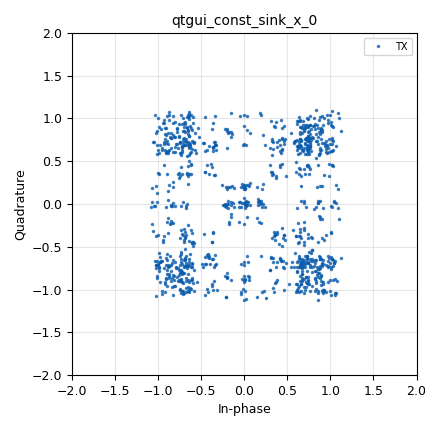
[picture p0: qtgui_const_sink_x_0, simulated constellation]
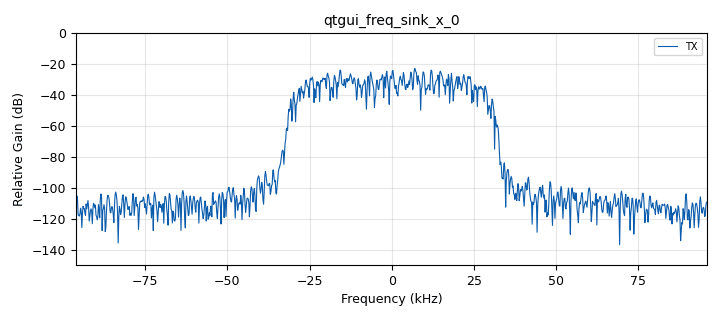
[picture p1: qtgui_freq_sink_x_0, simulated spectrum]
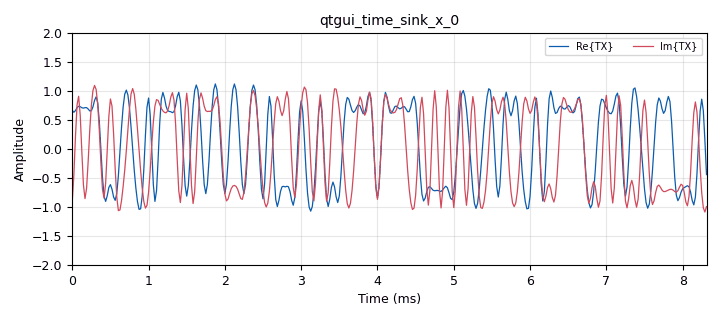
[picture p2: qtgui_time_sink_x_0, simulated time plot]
options:
  parameters:
    author: Barry Duggan
    category: Custom
    generate_options: qt_gui
    id: qpsk_stage1
    output_language: python
    title: qpsk_stage1
  states: {}

blocks:
- name: bb_gain
  id: variable_qtgui_range
  parameters:
    rangeType: int
    start: '1'
    step: '1'
    stop: '62'
    value: '20'
    widget: dial
  states: {}
- name: excess_bw
  id: variable
  parameters:
    value: '0.35'
  states: {}
- name: if_gain
  id: variable_qtgui_range
  parameters:
    label: if_gain
    rangeType: int
    start: '1'
    step: '1'
    stop: '40'
    value: '40'
    widget: dial
  states: {}
- name: qpsk
  id: variable_constellation_rect
  parameters:
    const_points: '[0.707+0.707j, -0.707+0.707j, -0.707-0.707j, 0.707-0.707j]'
    imag_sect: '2'
    real_sect: '2'
    rot_sym: '4'
    sym_map: '[0, 1, 2, 3]'
    w_imag_sect: '1'
    w_real_sect: '1'
  states: {}
- name: rf_gain
  id: variable_qtgui_range
  parameters:
    label: rf_gain
    rangeType: int
    start: '0'
    step: '14'
    stop: '14'
    value: '14'
    widget: dial
  states: {}
- name: rrc_taps
  id: variable
  parameters:
    value: firdes.root_raised_cosine(1, sps, 1, excess_bw, 45)
  states: {}
- name: samp_rate
  id: variable
  parameters:
    value: '48000'
  states: {}
- name: sps
  id: variable
  parameters:
    value: '4'
  states: {}
- name: transmit_rate
  id: variable
  parameters:
    value: '4000000'
  states: {}
- name: tx_freq
  id: variable
  parameters:
    value: '1240000000'
  states: {}
- name: analog_random_source_x_0
  id: analog_random_source_x
  parameters:
    max: '256'
    min: '0'
    num_samps: '10000'
    repeat: 'True'
    type: byte
  states: {}
- name: blocks_throttle2_0
  id: blocks_throttle2
  parameters:
    samples_per_second: samp_rate
    type: complex
  states: {}
- name: digital_constellation_modulator_0
  id: digital_constellation_modulator
  parameters:
    constellation: qpsk
    differential: 'True'
    excess_bw: excess_bw
    samples_per_symbol: sps
  states: {}
- name: osmosdr_sink_0
  id: osmosdr_sink
  parameters:
    args: hackrf=0
    bb_gain0: bb_gain
    freq0: tx_freq
    gain0: rf_gain
    if_gain0: if_gain
    sample_rate: transmit_rate
    sync: sync
    type: fc32
  states: {}
- name: qtgui_const_sink_x_0
  id: qtgui_const_sink_x
  parameters:
    alpha1: '0.75'
    gui_hint: 0,1,1,1
    label1: TX
    name: ''
    size: '1024'
    type: complex
  states: {}
- name: qtgui_freq_sink_x_0
  id: qtgui_freq_sink_x
  parameters:
    alpha1: '0.6'
    bw: '192000'
    fc: '0'
    fftsize: '1024'
    gui_hint: 1,0,1,2
    label1: TX
    name: ''
    showports: 'True'
    type: complex
    width1: '2'
    ymax: '0'
    ymin: '-150'
  states: {}
- name: qtgui_time_sink_x_0
  id: qtgui_time_sink_x
  parameters:
    alpha1: '0.5'
    alpha2: '0.5'
    gui_hint: 0,0,1,1
    label1: Re{TX}
    label2: Im{TX}
    name: ''
    size: '400'
    srate: samp_rate
    type: complex
    ymax: '2'
    ymin: '-2'
  states: {}

connections:
- [analog_random_source_x_0, '0', digital_constellation_modulator_0, '0']
- [blocks_throttle2_0, '0', osmosdr_sink_0, '0']
- [blocks_throttle2_0, '0', qtgui_const_sink_x_0, '0']
- [blocks_throttle2_0, '0', qtgui_freq_sink_x_0, '0']
- [blocks_throttle2_0, '0', qtgui_time_sink_x_0, '0']
- [digital_constellation_modulator_0, '0', blocks_throttle2_0, '0']

metadata:
  file_format: 1
  grc_version: 3.10.7.0
